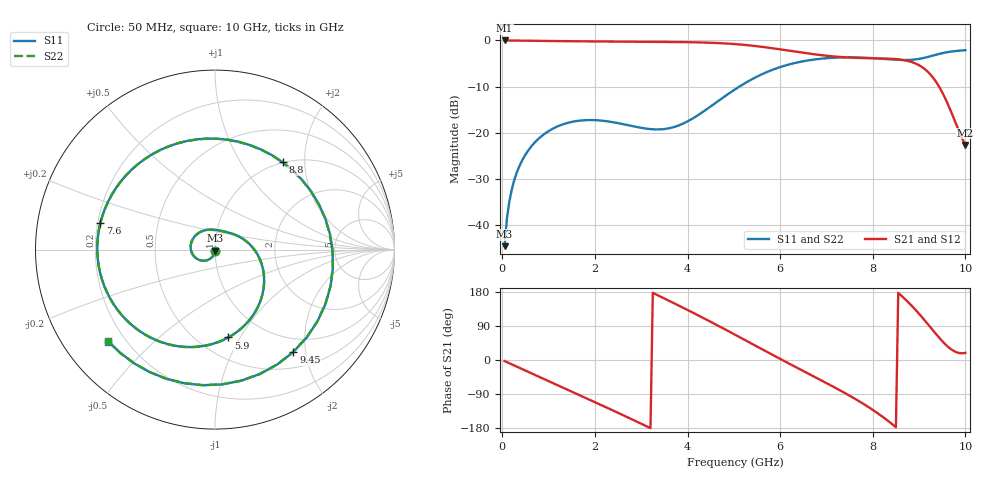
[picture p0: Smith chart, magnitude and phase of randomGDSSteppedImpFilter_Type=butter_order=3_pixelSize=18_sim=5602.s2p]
! freq	dB(S11)	phase(S11)	dB(S12)	phase(S12)
!  dB(S21)	phase(S21)	dB(S22)	phase(S22)
!S-par simulation data
#  GHz  S  DB  R 50
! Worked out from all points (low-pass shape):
!   200 points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, 50 MHz to 10 GHz, reference 50 ohm
!   highest |S21| = -0.01 dB at 50 MHz (marker M1); lowest = -22.6 dB at 10 GHz (marker M2)
!   |S21| within 3 dB of the highest: start of sweep to 6.742 GHz
!   lowest |S11| = -44.5 dB at 50 MHz (marker M3), VSWR 1.01, Z = 50 - j0.596 ohm
!   |S11| at or under -10 dB: start of sweep to 5.117 GHz
!   |S22| runs from -44.5 to -2.1 dB; largest |S21 - S12| = 0
!   S11 on the Smith chart (normalised r, x): 50 MHz: 1.00, -0.01; 5.9 GHz: 0.69, -0.89; 7.6 GHz: 0.21, +0.11; 8.8 GHz: 0.99, +1.56; 9.45 GHz: 0.75, -1.77; 10 GHz: 0.14, -0.37
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0.05  -44.49 -91.9  -0.01 -2.8  -0.01 -2.8  -44.47 -92.0
0.1  -38.48 -95.1  -0.01 -5.6  -0.01 -5.6  -38.47 -95.1
0.2  -32.46 -100.4  -0.02 -11.2  -0.02 -11.2  -32.47 -100.5
0.5  -24.70 -118.1  -0.06 -27.9  -0.06 -27.9  -24.70 -118.1
1.15  -18.79 -154.7  -0.14 -64.0  -0.14 -64.0  -18.79 -154.7
1.75  -17.27 171.9  -0.20 -97.2  -0.20 -97.2  -17.27 171.9
2.65  -18.19 121.1  -0.25 -148.0  -0.25 -148.0  -18.19 120.9
3.4  -19.24 77.0  -0.30 168.3  -0.30 168.3  -19.24 76.8
3.85  -18.22 49.8  -0.35 141.3  -0.35 141.3  -18.22 49.6
4.3  -15.67 22.1  -0.44 113.4  -0.44 113.4  -15.67 22.0
5.05  -10.42 -25.8  -0.81 65.2  -0.81 65.2  -10.42 -25.8
5.5  -7.83 -55.2  -1.25 35.6  -1.25 35.6  -7.83 -55.2
5.9  -6.11 -81.4  -1.78 9.4  -1.78 9.4  -6.11 -81.3
6.7  -4.17 -132.8  -2.95 -41.8  -2.95 -41.8  -4.17 -132.7
7.2  -3.72 -165.3  -3.50 -74.0  -3.50 -74.0  -3.72 -165.1
7.6  -3.67 167.1  -3.75 -101.2  -3.75 -101.2  -3.67 167.2
8.35  -4.08 104.2  -3.94 -162.6  -3.94 -162.6  -4.09 104.3
8.8  -4.21 52.3  -4.55 148.2  -4.55 148.2  -4.22 52.3
9.15  -3.67 -0.4  -6.42 100.5  -6.42 100.5  -3.68 -0.6
9.45  -2.88 -52.6  -10.30 56.7  -10.30 56.7  -2.88 -52.8
9.7  -2.40 -95.1  -15.62 27.7  -15.62 27.7  -2.40 -95.3
10  -2.11 -139.2  -22.59 18.6  -22.59 18.6  -2.11 -139.3
